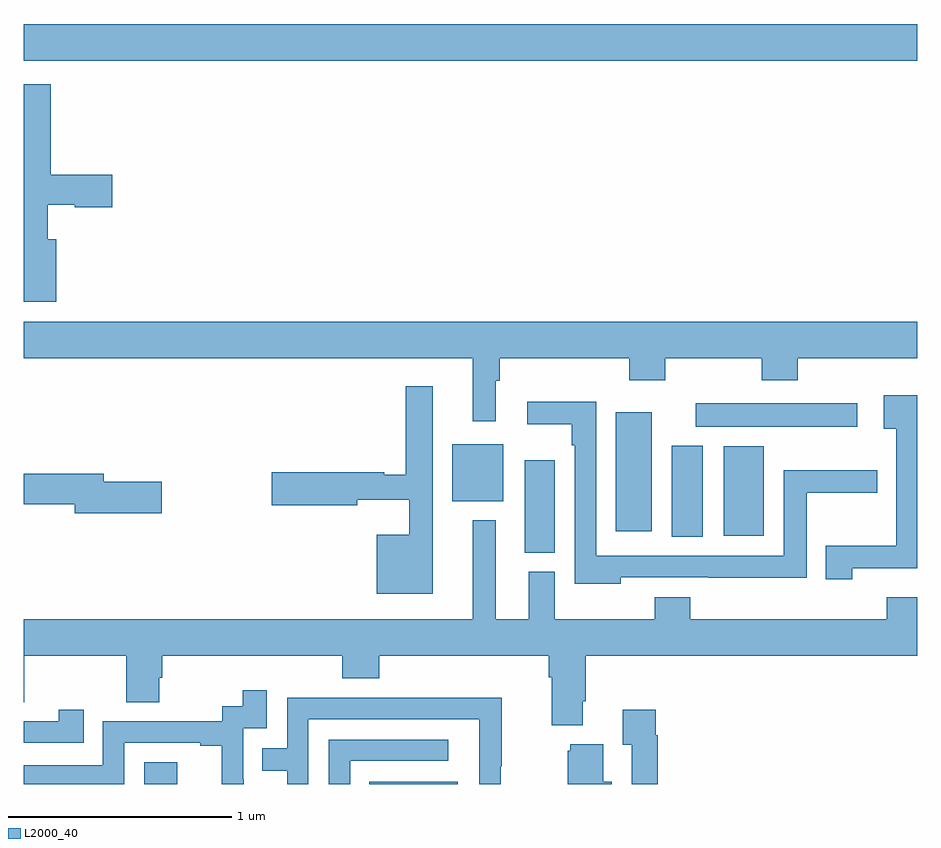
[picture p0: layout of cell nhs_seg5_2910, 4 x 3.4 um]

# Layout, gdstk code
import gdstk
lib = gdstk.Library(unit=1e-6, precision=1e-09)
def R(c, l, rs):  # rectangles x0, y0, x1, y1
    for r in rs: c.add(gdstk.rectangle(r[:2], r[2:], *l))
def P(c, l, *ps):  # polygons
    for p in ps: c.add(gdstk.Polygon(p, *l))
L2000_40 = (2000, 40)

nhs_seg5_2910 = lib.new_cell('nhs_seg5_2910')
R(nhs_seg5_2910, L2000_40, [(279.54,910.799,279.688,910.897), (280.546,910.799,280.942,910.81), (281.243,911.833,281.377,912.247), (281.9,911.905,282.04,912.313), (282.134,911.909,282.313,912.31), (281.651,911.931,281.812,912.463), (280.919,912.065,281.146,912.319), (282.009,912.398,282.73,912.502), (279,914.036,283,914.2)])
P(nhs_seg5_2910, L2000_40, [(279.146,913.236),(279.109,913.236),(279.109,913.391),(279.229,913.391),(279.229,913.379),(279.397,913.379),(279.397,913.526),(279.122,913.526),(279.122,913.93),(279,913.93),(279,912.957),(279.146,912.957)],
  [(281.113,912.604),(281.131,912.604),(281.131,912.704),(281.711,912.704),(281.711,912.605),(281.871,912.605),(281.871,912.704),(282.304,912.704),(282.304,912.605),(282.464,912.605),(282.464,912.704),(283,912.704),(283,912.868),(279,912.868),(279,912.704),(281.009,912.704),(281.009,912.423),(281.113,912.423)],
  [(280.831,912.58),(280.71,912.58),(280.71,912.184),(280.613,912.184),(280.613,912.194),(280.11,912.194),(280.11,912.047),(280.494,912.047),(280.494,912.071),(280.727,912.071),(280.727,911.914),(280.58,911.914),(280.58,911.651),(280.831,911.651)],
  [(282.708,911.765),(283,911.765),(283,912.538),(282.849,912.538),(282.849,912.389),(282.905,912.389),(282.905,911.865),(282.59,911.865),(282.59,911.715),(282.708,911.715)],
  [(281.673,911.724),(282.067,911.724),(282.067,911.723),(282.505,911.723),(282.505,912.103),(282.82,912.103),(282.82,912.203),(282.401,912.203),(282.401,911.82),(281.562,911.82),(281.562,912.509),(281.253,912.509),(281.253,912.41),(281.454,912.41),(281.454,912.314),(281.466,912.314),(281.466,911.696),(281.673,911.696)],
  [(279.619,912.152),(279.358,912.152),(279.358,912.188),(279,912.188),(279,912.052),(279.23,912.052),(279.23,912.01),(279.619,912.01)],
  [(281.503,911.17),(281.516,911.17),(281.516,911.372),(283,911.372),(283,911.635),(282.863,911.635),(282.863,911.536),(281.984,911.536),(281.984,911.635),(281.824,911.635),(281.824,911.536),(281.377,911.536),(281.377,911.748),(281.261,911.748),(281.261,911.536),(281.113,911.536),(281.113,911.98),(281.009,911.98),(281.009,911.536),(279,911.536),(279,911.164),(279.003,911.164),(279.003,911.372),(279.46,911.372),(279.46,911.164),(279.607,911.164),(279.607,911.274),(279.62,911.274),(279.62,911.372),(280.427,911.372),(280.427,911.273),(280.592,911.273),(280.592,911.372),(281.351,911.372),(281.351,911.276),(281.363,911.276),(281.363,911.063),(281.503,911.063)],
  [(279.45,910.983),(279.791,910.983),(279.791,910.971),(279.887,910.971),(279.887,910.799),(279.986,910.799),(279.986,910.82),(279.984,910.82),(279.984,911.049),(280.089,911.049),(280.089,911.218),(279.981,911.218),(279.981,911.148),(279.888,911.148),(279.888,911.079),(279.354,911.079),(279.354,910.884),(279,910.884),(279,910.799),(279.45,910.799)],
  [(280.275,911.088),(281.039,911.088),(281.039,910.834),(281.04,910.834),(281.04,910.799),(281.136,910.799),(281.136,910.879),(281.139,910.879),(281.139,911.186),(280.675,911.186),(280.675,911.184),(280.179,911.184),(280.179,910.959),(280.069,910.959),(280.069,910.858),(280.179,910.858),(280.179,910.799),(280.275,910.799)],
  [(279.269,911.131),(279.158,911.131),(279.158,911.079),(279,911.079),(279,910.983),(279.269,910.983)],
  [(281.837,911.018),(281.83,911.018),(281.83,911.131),(281.681,911.131),(281.681,910.975),(281.721,910.975),(281.721,910.799),(281.837,910.799)],
  [(280.461,910.902),(280.9,910.902),(280.9,910.998),(280.365,910.998),(280.365,910.799),(280.461,910.799)],
  [(281.632,910.81),(281.593,910.81),(281.593,910.978),(281.447,910.978),(281.447,910.947),(281.435,910.947),(281.435,910.799),(281.632,910.799)])

lib.write_gds('nhs_seg5_2910.gds')
